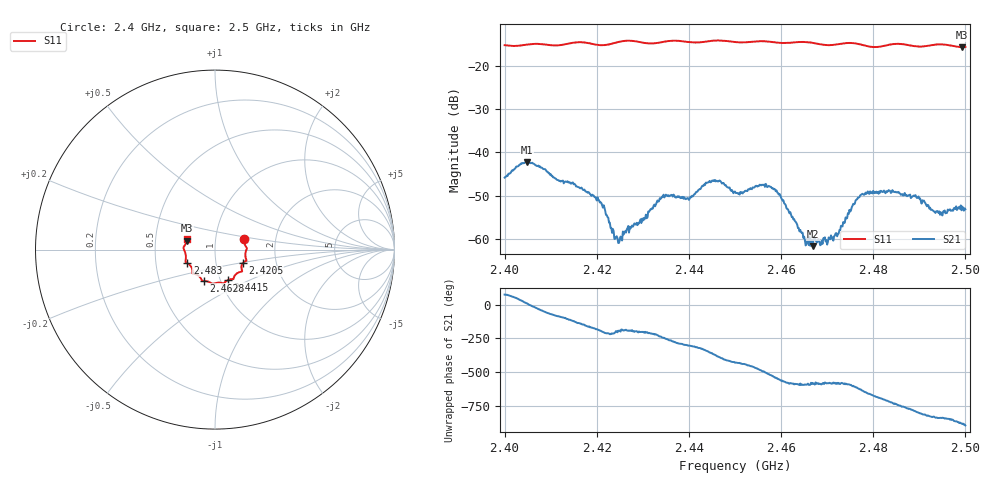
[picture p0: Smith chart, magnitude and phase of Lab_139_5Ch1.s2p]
# Hz S RI R 50
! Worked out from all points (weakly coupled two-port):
!   601 points, 2.4 GHz to 2.5 GHz, reference 50 ohm
!   highest |S21| = -42.18 dB at 2.4048 GHz (marker M1); lowest = -61.6 dB at 2.4668 GHz (marker M2)
!   lowest |S11| = -15.8 dB at 2.4993 GHz (marker M3), VSWR 1.39, Z = 36.4 + j3.66 ohm
!   |S11| at or under -10 dB: start of sweep to end of sweep
!   S12 and S22 are empty: the file has one direction only
!   S11 on the Smith chart (normalised r, x): 2.4 GHz: 1.38, +0.16; 2.4205 GHz: 1.35, -0.21; 2.4415 GHz: 1.09, -0.38; 2.4628 GHz: 0.83, -0.30; 2.483 GHz: 0.73, -0.11; 2.5 GHz: 0.73, +0.09
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2.4e9  0.1622 0.0568  0.00149 0.00491  0 0  0 0
2.404833e9  0.1739 0.014  0.00768 0.00119  0 0  0 0
2.416667e9  0.1751 -0.0621  -0.00309 -0.00244  0 0  0 0
2.4205e9  0.155 -0.0755  -0.00279 0.000404  0 0  0 0
2.425e9  0.1501 -0.1146  -0.000967 0.000197  0 0  0 0
2.433333e9  0.1079 -0.1478  -0.0018 0.00204  0 0  0 0
2.4415e9  0.0734 -0.1692  0.00246 0.00246  0 0  0 0
2.4455e9  0.0502 -0.1873  0.00462 -0.000695  0 0  0 0
2.45e9  0.0297 -0.1845  0.0013 -0.0033  0 0  0 0
2.457667e9  -0.0218 -0.1868  -0.00378 -0.00138  0 0  0 0
2.462833e9  -0.0622 -0.1742  -0.00113 0.00128  0 0  0 0
2.4655e9  -0.0725 -0.1719  -0.000558 0.000693  0 0  0 0
2.466667e9  -0.0752 -0.1675  -0.000706 0.0007  0 0  0 0
2.466833e9  -0.0755 -0.1665  -0.000659 0.00051  0 0  0 0
2.471833e9  -0.1091 -0.1363  -0.000869 0.000782  0 0  0 0
2.477167e9  -0.1254 -0.123  -0.000245 0.00319  0 0  0 0
2.483e9  -0.1539 -0.0764  0.00343 0.000693  0 0  0 0
2.483333e9  -0.1562 -0.0753  0.00366 0.000359  0 0  0 0
2.489333e9  -0.1621 -0.0379  0.00101 -0.00289  0 0  0 0
2.4945e9  -0.1757 0.0096  -0.00085 -0.00172  0 0  0 0
2.499333e9  -0.1554 0.049  -0.00223 -0.000837  0 0  0 0
2.5e9  -0.1536 0.0576  -0.00219 -0.00034  0 0  0 0
